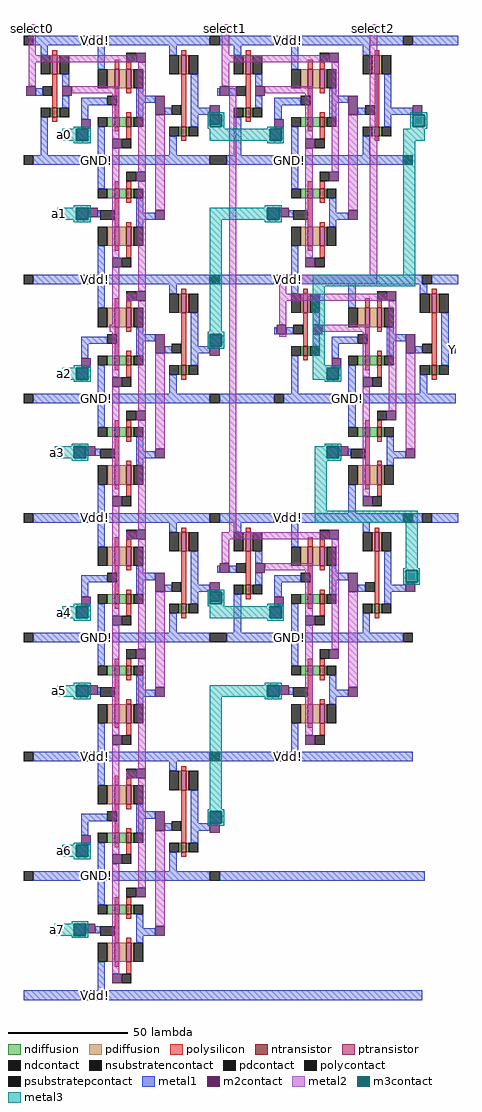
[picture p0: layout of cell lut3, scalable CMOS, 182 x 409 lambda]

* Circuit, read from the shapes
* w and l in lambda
.subckt lut3 GND! Vdd! Y a0 a1 a2 a3 a4 a5 a6 a7 select0 select1 select2
M1 n1 select0 GND! GND! nfet w=4 l=2
M2 n2 a7 GND! GND! nfet w=4 l=2
M3 n3 a6 GND! GND! nfet w=4 l=2
M4 n4 a5 GND! GND! nfet w=4 l=2
M5 n5 a4 GND! GND! nfet w=4 l=2
M6 n6 a3 GND! GND! nfet w=4 l=2
M7 n7 a2 GND! GND! nfet w=4 l=2
M8 n8 a1 GND! GND! nfet w=4 l=2
M9 n9 a0 GND! GND! nfet w=4 l=2
M10 n10 select0 n2 GND! nfet w=4 l=2
M11 n10 n1 n3 GND! nfet w=4 l=2
M12 n11 select0 n4 GND! nfet w=4 l=2
M13 n11 n1 n5 GND! nfet w=4 l=2
M14 n12 select0 n6 GND! nfet w=4 l=2
M15 n12 n1 n7 GND! nfet w=4 l=2
M16 n13 select0 n8 GND! nfet w=4 l=2
M17 n13 n1 n9 GND! nfet w=4 l=2
M18 n14 n10 GND! GND! nfet w=4 l=2
M19 n15 n11 GND! GND! nfet w=4 l=2
M20 n16 n12 GND! GND! nfet w=4 l=2
M21 n17 n13 GND! GND! nfet w=4 l=2
M22 n18 select1 GND! GND! nfet w=4 l=2
M23 n19 select1 GND! GND! nfet w=4 l=2
M24 n20 select2 GND! GND! nfet w=4 l=2
M25 n21 n14 GND! GND! nfet w=4 l=2
M26 n22 n15 GND! GND! nfet w=4 l=2
M27 n23 n16 GND! GND! nfet w=4 l=2
M28 n24 n17 GND! GND! nfet w=4 l=2
M29 n25 select1 n21 GND! nfet w=4 l=2
M30 n25 n18 n22 GND! nfet w=4 l=2
M31 n26 select1 n23 GND! nfet w=4 l=2
M32 n26 n19 n24 GND! nfet w=4 l=2
M33 n27 n28 GND! GND! nfet w=4 l=2
M34 n29 n30 GND! GND! nfet w=4 l=2
M35 n28 n25 GND! GND! nfet w=4 l=2
M36 n30 n26 GND! GND! nfet w=4 l=2
M37 n31 select2 n27 GND! nfet w=4 l=2
M38 n31 n20 n29 GND! nfet w=4 l=2
M39 Y n31 GND! GND! nfet w=4 l=2
M40 n1 select0 Vdd! Vdd! pfet w=8 l=2
M41 n32 a7 Vdd! Vdd! pfet w=8 l=2
M42 n33 a6 Vdd! Vdd! pfet w=8 l=2
M43 n34 a5 Vdd! Vdd! pfet w=8 l=2
M44 n35 a4 Vdd! Vdd! pfet w=8 l=2
M45 n36 a3 Vdd! Vdd! pfet w=8 l=2
M46 n37 a2 Vdd! Vdd! pfet w=8 l=2
M47 n38 a1 Vdd! Vdd! pfet w=8 l=2
M48 n39 a0 Vdd! Vdd! pfet w=8 l=2
M49 n10 n1 n32 Vdd! pfet w=8 l=2
M50 n10 select0 n33 Vdd! pfet w=8 l=2
M51 n11 n1 n34 Vdd! pfet w=8 l=2
M52 n11 select0 n35 Vdd! pfet w=8 l=2
M53 n12 n1 n36 Vdd! pfet w=8 l=2
M54 n12 select0 n37 Vdd! pfet w=8 l=2
M55 n13 n1 n38 Vdd! pfet w=8 l=2
M56 n13 select0 n39 Vdd! pfet w=8 l=2
M57 n14 n10 Vdd! Vdd! pfet w=8 l=2
M58 n15 n11 Vdd! Vdd! pfet w=8 l=2
M59 n16 n12 Vdd! Vdd! pfet w=8 l=2
M60 n17 n13 Vdd! Vdd! pfet w=8 l=2
M61 n18 select1 Vdd! Vdd! pfet w=8 l=2
M62 n19 select1 Vdd! Vdd! pfet w=8 l=2
M63 n20 select2 Vdd! Vdd! pfet w=8 l=2
M64 n40 n14 Vdd! Vdd! pfet w=8 l=2
M65 n41 n15 Vdd! Vdd! pfet w=8 l=2
M66 n42 n16 Vdd! Vdd! pfet w=8 l=2
M67 n43 n17 Vdd! Vdd! pfet w=8 l=2
M68 n25 n18 n40 Vdd! pfet w=8 l=2
M69 n25 select1 n41 Vdd! pfet w=8 l=2
M70 n26 n19 n42 Vdd! pfet w=8 l=2
M71 n26 select1 n43 Vdd! pfet w=8 l=2
M72 n44 n28 Vdd! Vdd! pfet w=8 l=2
M73 n45 n30 Vdd! Vdd! pfet w=8 l=2
M74 n28 n25 Vdd! Vdd! pfet w=8 l=2
M75 n30 n26 Vdd! Vdd! pfet w=8 l=2
M76 n31 n20 n44 Vdd! pfet w=8 l=2
M77 n31 select2 n45 Vdd! pfet w=8 l=2
M78 Y n31 Vdd! Vdd! pfet w=8 l=2
.ends

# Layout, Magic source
magic
tech scmos
<< ntransistor >>
rect 134 487 136 491
rect 160 483 162 487
rect 165 483 167 487
rect 215 487 217 491
rect 241 483 243 487
rect 246 483 248 487
rect 188 479 190 483
rect 269 479 271 483
rect 160 453 162 457
rect 165 453 167 457
rect 241 453 243 457
rect 246 453 248 457
rect 160 383 162 387
rect 165 383 167 387
rect 239 387 241 391
rect 265 383 267 387
rect 270 383 272 387
rect 188 379 190 383
rect 293 379 295 383
rect 160 353 162 357
rect 165 353 167 357
rect 265 353 267 357
rect 270 353 272 357
rect 160 283 162 287
rect 165 283 167 287
rect 215 287 217 291
rect 241 283 243 287
rect 246 283 248 287
rect 188 279 190 283
rect 269 279 271 283
rect 160 253 162 257
rect 165 253 167 257
rect 241 253 243 257
rect 246 253 248 257
rect 160 183 162 187
rect 165 183 167 187
rect 188 179 190 183
rect 160 153 162 157
rect 165 153 167 157
<< ptransistor >>
rect 134 505 136 513
rect 160 499 162 507
rect 165 499 167 507
rect 188 505 190 513
rect 215 505 217 513
rect 241 499 243 507
rect 246 499 248 507
rect 269 505 271 513
rect 160 433 162 441
rect 165 433 167 441
rect 241 433 243 441
rect 246 433 248 441
rect 160 399 162 407
rect 165 399 167 407
rect 188 405 190 413
rect 239 405 241 413
rect 265 399 267 407
rect 270 399 272 407
rect 293 405 295 413
rect 160 333 162 341
rect 165 333 167 341
rect 265 333 267 341
rect 270 333 272 341
rect 160 299 162 307
rect 165 299 167 307
rect 188 305 190 313
rect 215 305 217 313
rect 241 299 243 307
rect 246 299 248 307
rect 269 305 271 313
rect 160 233 162 241
rect 165 233 167 241
rect 241 233 243 241
rect 246 233 248 241
rect 160 199 162 207
rect 165 199 167 207
rect 188 205 190 213
rect 160 133 162 141
rect 165 133 167 141
<< ndiffusion >>
rect 133 487 134 491
rect 136 487 137 491
rect 157 483 160 487
rect 162 483 165 487
rect 167 483 168 487
rect 214 487 215 491
rect 217 487 218 491
rect 238 483 241 487
rect 243 483 246 487
rect 248 483 249 487
rect 187 479 188 483
rect 190 479 191 483
rect 268 479 269 483
rect 271 479 272 483
rect 157 453 160 457
rect 162 453 165 457
rect 167 453 168 457
rect 238 453 241 457
rect 243 453 246 457
rect 248 453 249 457
rect 157 383 160 387
rect 162 383 165 387
rect 167 383 168 387
rect 238 387 239 391
rect 241 387 242 391
rect 262 383 265 387
rect 267 383 270 387
rect 272 383 273 387
rect 187 379 188 383
rect 190 379 191 383
rect 292 379 293 383
rect 295 379 296 383
rect 157 353 160 357
rect 162 353 165 357
rect 167 353 168 357
rect 262 353 265 357
rect 267 353 270 357
rect 272 353 273 357
rect 157 283 160 287
rect 162 283 165 287
rect 167 283 168 287
rect 214 287 215 291
rect 217 287 218 291
rect 238 283 241 287
rect 243 283 246 287
rect 248 283 249 287
rect 187 279 188 283
rect 190 279 191 283
rect 268 279 269 283
rect 271 279 272 283
rect 157 253 160 257
rect 162 253 165 257
rect 167 253 168 257
rect 238 253 241 257
rect 243 253 246 257
rect 248 253 249 257
rect 157 183 160 187
rect 162 183 165 187
rect 167 183 168 187
rect 187 179 188 183
rect 190 179 191 183
rect 157 153 160 157
rect 162 153 165 157
rect 167 153 168 157
<< pdiffusion >>
rect 133 505 134 513
rect 136 505 137 513
rect 157 499 160 507
rect 162 499 165 507
rect 167 499 168 507
rect 187 505 188 513
rect 190 505 191 513
rect 214 505 215 513
rect 217 505 218 513
rect 238 499 241 507
rect 243 499 246 507
rect 248 499 249 507
rect 268 505 269 513
rect 271 505 272 513
rect 157 433 160 441
rect 162 433 165 441
rect 167 433 168 441
rect 238 433 241 441
rect 243 433 246 441
rect 248 433 249 441
rect 157 399 160 407
rect 162 399 165 407
rect 167 399 168 407
rect 187 405 188 413
rect 190 405 191 413
rect 238 405 239 413
rect 241 405 242 413
rect 262 399 265 407
rect 267 399 270 407
rect 272 399 273 407
rect 292 405 293 413
rect 295 405 296 413
rect 157 333 160 341
rect 162 333 165 341
rect 167 333 168 341
rect 262 333 265 341
rect 267 333 270 341
rect 272 333 273 341
rect 157 299 160 307
rect 162 299 165 307
rect 167 299 168 307
rect 187 305 188 313
rect 190 305 191 313
rect 214 305 215 313
rect 217 305 218 313
rect 238 299 241 307
rect 243 299 246 307
rect 248 299 249 307
rect 268 305 269 313
rect 271 305 272 313
rect 157 233 160 241
rect 162 233 165 241
rect 167 233 168 241
rect 238 233 241 241
rect 243 233 246 241
rect 248 233 249 241
rect 157 199 160 207
rect 162 199 165 207
rect 167 199 168 207
rect 187 205 188 213
rect 190 205 191 213
rect 157 133 160 141
rect 162 133 165 141
rect 167 133 168 141
<< ndcontact >>
rect 129 487 133 491
rect 137 487 141 491
rect 153 483 157 487
rect 168 483 172 487
rect 210 487 214 491
rect 218 487 222 491
rect 234 483 238 487
rect 249 483 253 487
rect 183 479 187 483
rect 191 479 195 483
rect 264 479 268 483
rect 272 479 276 483
rect 153 453 157 457
rect 168 453 172 457
rect 234 453 238 457
rect 249 453 253 457
rect 153 383 157 387
rect 168 383 172 387
rect 234 387 238 391
rect 242 387 246 391
rect 258 383 262 387
rect 273 383 277 387
rect 183 379 187 383
rect 191 379 195 383
rect 288 379 292 383
rect 296 379 300 383
rect 153 353 157 357
rect 168 353 172 357
rect 258 353 262 357
rect 273 353 277 357
rect 153 283 157 287
rect 168 283 172 287
rect 210 287 214 291
rect 218 287 222 291
rect 234 283 238 287
rect 249 283 253 287
rect 183 279 187 283
rect 191 279 195 283
rect 264 279 268 283
rect 272 279 276 283
rect 153 253 157 257
rect 168 253 172 257
rect 234 253 238 257
rect 249 253 253 257
rect 153 183 157 187
rect 168 183 172 187
rect 183 179 187 183
rect 191 179 195 183
rect 153 153 157 157
rect 168 153 172 157
<< pdcontact >>
rect 129 505 133 513
rect 137 505 141 513
rect 153 499 157 507
rect 168 499 172 507
rect 183 505 187 513
rect 191 505 195 513
rect 210 505 214 513
rect 218 505 222 513
rect 234 499 238 507
rect 249 499 253 507
rect 264 505 268 513
rect 272 505 276 513
rect 153 433 157 441
rect 168 433 172 441
rect 234 433 238 441
rect 249 433 253 441
rect 153 399 157 407
rect 168 399 172 407
rect 183 405 187 413
rect 191 405 195 413
rect 234 405 238 413
rect 242 405 246 413
rect 258 399 262 407
rect 273 399 277 407
rect 288 405 292 413
rect 296 405 300 413
rect 153 333 157 341
rect 168 333 172 341
rect 258 333 262 341
rect 273 333 277 341
rect 153 299 157 307
rect 168 299 172 307
rect 183 305 187 313
rect 191 305 195 313
rect 210 305 214 313
rect 218 305 222 313
rect 234 299 238 307
rect 249 299 253 307
rect 264 305 268 313
rect 272 305 276 313
rect 153 233 157 241
rect 168 233 172 241
rect 234 233 238 241
rect 249 233 253 241
rect 153 199 157 207
rect 168 199 172 207
rect 183 205 187 213
rect 191 205 195 213
rect 153 133 157 141
rect 168 133 172 141
<< psubstratepcontact >>
rect 122 467 126 471
rect 146 467 150 471
rect 200 467 207 471
rect 227 467 231 471
rect 281 467 285 471
rect 122 367 126 371
rect 146 367 150 371
rect 200 367 204 371
rect 227 367 231 371
rect 251 367 255 371
rect 122 267 126 271
rect 146 267 150 271
rect 200 267 207 271
rect 227 267 231 271
rect 281 267 285 271
rect 122 167 126 171
rect 146 167 150 171
rect 200 167 204 171
<< nsubstratencontact >>
rect 122 517 126 521
rect 146 517 150 521
rect 200 517 204 521
rect 227 517 231 521
rect 281 517 285 521
rect 122 417 126 421
rect 146 417 150 421
rect 200 417 204 421
rect 227 417 231 421
rect 289 417 293 421
rect 122 317 126 321
rect 146 317 150 321
rect 200 317 204 321
rect 227 317 231 321
rect 281 317 285 321
rect 289 317 293 321
rect 122 217 126 221
rect 146 217 150 221
rect 200 217 204 221
rect 227 217 231 221
rect 146 117 150 121
<< polysilicon >>
rect 134 513 136 515
rect 160 507 162 511
rect 188 513 190 515
rect 215 513 217 515
rect 165 507 167 510
rect 134 491 136 505
rect 241 507 243 511
rect 269 513 271 515
rect 246 507 248 510
rect 160 496 162 499
rect 165 497 167 499
rect 161 492 162 496
rect 160 487 162 492
rect 165 487 167 489
rect 134 485 136 487
rect 188 483 190 505
rect 215 491 217 505
rect 241 496 243 499
rect 246 497 248 499
rect 242 492 243 496
rect 241 487 243 492
rect 246 487 248 489
rect 215 485 217 487
rect 269 483 271 505
rect 160 481 162 483
rect 165 478 167 483
rect 241 481 243 483
rect 188 477 190 479
rect 246 478 248 483
rect 269 477 271 479
rect 160 457 162 460
rect 165 457 167 460
rect 241 457 243 460
rect 246 457 248 460
rect 160 441 162 453
rect 165 451 167 453
rect 165 441 167 443
rect 241 441 243 453
rect 246 451 248 453
rect 246 441 248 443
rect 160 431 162 433
rect 165 428 167 433
rect 241 431 243 433
rect 246 428 248 433
rect 160 407 162 411
rect 188 413 190 415
rect 239 413 241 415
rect 165 407 167 410
rect 265 407 267 411
rect 293 413 295 415
rect 270 407 272 410
rect 160 396 162 399
rect 165 397 167 399
rect 161 392 162 396
rect 160 387 162 392
rect 165 387 167 389
rect 188 383 190 405
rect 239 391 241 405
rect 265 396 267 399
rect 270 397 272 399
rect 266 392 267 396
rect 265 387 267 392
rect 270 387 272 389
rect 239 385 241 387
rect 293 383 295 405
rect 160 381 162 383
rect 165 378 167 383
rect 265 381 267 383
rect 188 377 190 379
rect 270 378 272 383
rect 293 377 295 379
rect 160 357 162 360
rect 165 357 167 360
rect 265 357 267 360
rect 270 357 272 360
rect 160 341 162 353
rect 165 351 167 353
rect 165 341 167 343
rect 265 341 267 353
rect 270 351 272 353
rect 270 341 272 343
rect 160 331 162 333
rect 165 328 167 333
rect 265 331 267 333
rect 270 328 272 333
rect 160 307 162 311
rect 188 313 190 315
rect 215 313 217 315
rect 165 307 167 310
rect 241 307 243 311
rect 269 313 271 315
rect 246 307 248 310
rect 160 296 162 299
rect 165 297 167 299
rect 161 292 162 296
rect 160 287 162 292
rect 165 287 167 289
rect 188 283 190 305
rect 215 291 217 305
rect 241 296 243 299
rect 246 297 248 299
rect 242 292 243 296
rect 241 287 243 292
rect 246 287 248 289
rect 215 285 217 287
rect 269 283 271 305
rect 160 281 162 283
rect 165 278 167 283
rect 241 281 243 283
rect 188 277 190 279
rect 246 278 248 283
rect 269 277 271 279
rect 160 257 162 260
rect 165 257 167 260
rect 241 257 243 260
rect 246 257 248 260
rect 160 241 162 253
rect 165 251 167 253
rect 165 241 167 243
rect 241 241 243 253
rect 246 251 248 253
rect 246 241 248 243
rect 160 231 162 233
rect 165 228 167 233
rect 241 231 243 233
rect 246 228 248 233
rect 160 207 162 211
rect 188 213 190 215
rect 165 207 167 210
rect 160 196 162 199
rect 165 197 167 199
rect 161 192 162 196
rect 160 187 162 192
rect 165 187 167 189
rect 188 183 190 205
rect 160 181 162 183
rect 165 178 167 183
rect 188 177 190 179
rect 160 157 162 160
rect 165 157 167 160
rect 160 141 162 153
rect 165 151 167 153
rect 165 141 167 143
rect 160 131 162 133
rect 165 128 167 133
<< polycontact >>
rect 165 510 169 514
rect 130 496 134 500
rect 246 510 250 514
rect 157 492 161 496
rect 184 488 188 492
rect 211 496 215 500
rect 238 492 242 496
rect 265 488 269 492
rect 163 474 167 478
rect 244 474 248 478
rect 165 460 169 464
rect 246 460 250 464
rect 154 444 160 448
rect 235 444 241 448
rect 163 424 167 428
rect 244 424 248 428
rect 165 410 169 414
rect 270 410 274 414
rect 157 392 161 396
rect 184 388 188 392
rect 235 396 239 400
rect 262 392 266 396
rect 289 388 293 392
rect 163 374 167 378
rect 268 374 272 378
rect 165 360 169 364
rect 270 360 274 364
rect 154 344 160 348
rect 259 344 265 348
rect 163 324 167 328
rect 268 324 272 328
rect 165 310 169 314
rect 246 310 250 314
rect 157 292 161 296
rect 184 288 188 292
rect 211 296 215 300
rect 238 292 242 296
rect 265 288 269 292
rect 163 274 167 278
rect 244 274 248 278
rect 165 260 169 264
rect 246 260 250 264
rect 154 244 160 248
rect 235 244 241 248
rect 163 224 167 228
rect 244 224 248 228
rect 165 210 169 214
rect 157 192 161 196
rect 184 188 188 192
rect 163 174 167 178
rect 165 160 169 164
rect 154 144 160 148
rect 163 124 167 128
<< metal1 >>
rect 126 517 146 521
rect 150 517 200 521
rect 204 517 227 521
rect 231 517 281 521
rect 285 517 304 521
rect 129 513 132 517
rect 138 500 141 505
rect 153 507 156 517
rect 183 513 186 517
rect 210 513 213 517
rect 127 496 130 499
rect 169 496 172 499
rect 138 491 141 496
rect 146 492 157 495
rect 169 493 177 496
rect 129 471 132 487
rect 146 486 149 492
rect 169 487 172 493
rect 181 488 184 491
rect 192 491 195 505
rect 219 500 222 505
rect 234 507 237 517
rect 264 513 267 517
rect 203 496 204 499
rect 208 496 211 499
rect 250 496 253 499
rect 192 488 200 491
rect 219 491 222 496
rect 192 483 195 488
rect 200 484 204 488
rect 227 492 238 495
rect 250 493 258 496
rect 144 477 149 482
rect 153 471 156 483
rect 183 471 186 479
rect 210 471 213 487
rect 227 486 230 492
rect 250 487 253 493
rect 262 488 265 491
rect 273 491 276 505
rect 273 488 285 491
rect 273 483 276 488
rect 225 477 230 482
rect 234 471 237 483
rect 264 471 267 479
rect 126 467 146 471
rect 150 467 200 471
rect 207 467 227 471
rect 231 467 281 471
rect 153 457 156 467
rect 234 457 237 467
rect 144 444 149 449
rect 153 445 154 448
rect 169 447 172 453
rect 169 444 177 447
rect 224 444 229 449
rect 233 445 235 448
rect 250 447 253 453
rect 250 444 258 447
rect 169 441 172 444
rect 250 441 253 444
rect 153 421 156 433
rect 234 421 237 433
rect 126 417 146 421
rect 150 417 200 421
rect 204 417 227 421
rect 231 417 289 421
rect 293 417 304 421
rect 153 407 156 417
rect 183 413 186 417
rect 234 413 237 417
rect 169 396 172 399
rect 146 392 157 395
rect 169 393 177 396
rect 146 386 149 392
rect 169 387 172 393
rect 181 388 184 391
rect 192 391 195 405
rect 243 400 246 405
rect 258 407 261 417
rect 288 413 291 417
rect 227 396 228 399
rect 232 396 235 399
rect 274 396 277 399
rect 200 391 205 396
rect 243 391 246 396
rect 192 388 200 391
rect 192 383 195 388
rect 251 392 262 395
rect 274 393 282 396
rect 144 377 149 382
rect 153 371 156 383
rect 183 371 186 379
rect 234 371 237 387
rect 251 386 254 392
rect 274 387 277 393
rect 286 388 289 391
rect 297 391 300 405
rect 297 388 303 391
rect 297 383 300 388
rect 249 377 254 382
rect 258 371 261 383
rect 288 371 291 379
rect 126 367 146 371
rect 150 367 200 371
rect 204 367 227 371
rect 231 367 251 371
rect 255 367 303 371
rect 153 357 156 367
rect 258 357 261 367
rect 143 344 148 349
rect 152 345 154 348
rect 169 347 172 353
rect 169 344 177 347
rect 249 344 254 349
rect 258 345 259 348
rect 274 347 277 353
rect 274 344 282 347
rect 169 341 172 344
rect 274 341 277 344
rect 153 321 156 333
rect 258 321 261 333
rect 126 317 146 321
rect 150 317 200 321
rect 204 317 227 321
rect 231 317 281 321
rect 285 317 289 321
rect 293 317 304 321
rect 153 307 156 317
rect 183 313 186 317
rect 210 313 213 317
rect 169 296 172 299
rect 146 292 157 295
rect 169 293 177 296
rect 146 286 149 292
rect 169 287 172 293
rect 181 288 184 291
rect 192 291 195 305
rect 219 300 222 305
rect 234 307 237 317
rect 264 313 267 317
rect 203 296 204 299
rect 208 296 211 299
rect 250 296 253 299
rect 192 288 200 291
rect 219 291 222 296
rect 192 283 195 288
rect 200 284 204 288
rect 227 292 238 295
rect 250 293 258 296
rect 144 277 149 282
rect 153 271 156 283
rect 183 271 186 279
rect 210 271 213 287
rect 227 286 230 292
rect 250 287 253 293
rect 262 288 265 291
rect 273 291 276 305
rect 273 288 282 291
rect 273 283 276 288
rect 225 277 230 282
rect 234 271 237 283
rect 264 271 267 279
rect 126 267 146 271
rect 150 267 200 271
rect 207 267 227 271
rect 231 267 281 271
rect 153 257 156 267
rect 234 257 237 267
rect 144 244 149 249
rect 153 245 154 248
rect 169 247 172 253
rect 169 244 177 247
rect 224 244 229 249
rect 233 245 235 248
rect 250 247 253 253
rect 250 244 258 247
rect 169 241 172 244
rect 250 241 253 244
rect 153 221 156 233
rect 234 221 237 233
rect 126 217 146 221
rect 150 217 200 221
rect 204 217 227 221
rect 231 217 285 221
rect 153 207 156 217
rect 183 213 186 217
rect 169 196 172 199
rect 146 192 157 195
rect 169 193 177 196
rect 146 186 149 192
rect 169 187 172 193
rect 181 188 184 191
rect 192 191 195 205
rect 200 191 205 196
rect 192 188 200 191
rect 192 183 195 188
rect 144 177 149 182
rect 153 171 156 183
rect 183 171 186 179
rect 126 167 146 171
rect 150 167 200 171
rect 204 167 290 171
rect 153 157 156 167
rect 143 144 148 149
rect 152 145 154 148
rect 169 147 172 153
rect 169 144 177 147
rect 169 141 172 144
rect 153 121 156 133
rect 122 117 146 121
rect 150 117 289 121
<< m2contact >>
rect 169 510 173 514
rect 123 496 127 500
rect 138 496 142 500
rect 177 488 181 496
rect 250 510 254 514
rect 204 496 208 500
rect 219 496 223 500
rect 200 488 204 492
rect 146 482 150 486
rect 159 474 163 478
rect 258 488 262 496
rect 285 488 289 492
rect 227 482 231 486
rect 240 474 244 478
rect 169 460 173 464
rect 250 460 254 464
rect 149 445 153 449
rect 177 444 181 448
rect 229 445 233 449
rect 258 444 262 448
rect 159 424 163 428
rect 240 424 244 428
rect 169 410 173 414
rect 177 388 181 396
rect 274 410 278 414
rect 228 396 232 400
rect 243 396 247 400
rect 146 382 150 386
rect 200 387 204 391
rect 159 374 163 378
rect 282 388 286 396
rect 251 382 255 386
rect 264 374 268 378
rect 169 360 173 364
rect 274 360 278 364
rect 148 345 152 349
rect 177 344 181 348
rect 254 345 258 349
rect 282 344 286 348
rect 159 324 163 328
rect 264 324 268 328
rect 169 310 173 314
rect 177 288 181 296
rect 250 310 254 314
rect 204 296 208 300
rect 219 296 223 300
rect 200 288 204 292
rect 146 282 150 286
rect 159 274 163 278
rect 258 288 262 296
rect 282 288 286 292
rect 227 282 231 286
rect 240 274 244 278
rect 169 260 173 264
rect 250 260 254 264
rect 149 245 153 249
rect 177 244 181 248
rect 229 245 233 249
rect 258 244 262 248
rect 159 224 163 228
rect 240 224 244 228
rect 169 210 173 214
rect 177 188 181 196
rect 146 182 150 186
rect 200 187 204 191
rect 159 174 163 178
rect 169 160 173 164
rect 148 145 152 149
rect 177 144 181 148
rect 159 124 163 128
<< metal2 >>
rect 124 513 127 526
rect 124 510 169 513
rect 124 500 127 510
rect 142 497 162 500
rect 159 478 162 497
rect 159 428 162 474
rect 170 464 173 510
rect 205 513 208 526
rect 205 510 250 513
rect 205 500 208 510
rect 159 400 162 424
rect 170 414 173 460
rect 177 448 181 488
rect 165 410 169 413
rect 158 397 162 400
rect 159 378 162 397
rect 159 328 162 374
rect 170 364 173 410
rect 159 278 162 324
rect 170 314 173 360
rect 177 348 181 388
rect 165 310 169 313
rect 208 313 211 500
rect 223 497 243 500
rect 240 478 243 497
rect 240 428 243 474
rect 251 464 254 510
rect 258 448 262 488
rect 267 421 270 526
rect 229 417 270 421
rect 229 413 232 417
rect 229 410 274 413
rect 229 400 232 410
rect 247 397 267 400
rect 229 395 232 396
rect 264 378 267 397
rect 264 328 267 374
rect 275 364 278 410
rect 282 348 286 388
rect 159 228 162 274
rect 170 264 173 310
rect 205 310 250 313
rect 205 300 208 310
rect 223 297 243 300
rect 159 178 162 224
rect 170 214 173 260
rect 177 248 181 288
rect 240 278 243 297
rect 240 228 243 274
rect 251 264 254 310
rect 258 248 262 288
rect 165 210 169 213
rect 159 128 162 174
rect 170 164 173 210
rect 177 148 181 188
<< m3contact >>
rect 144 477 149 482
rect 144 444 149 449
rect 200 483 205 488
rect 144 377 149 382
rect 143 344 148 349
rect 144 277 149 282
rect 200 391 205 396
rect 225 477 230 482
rect 224 444 229 449
rect 285 483 290 488
rect 249 377 254 382
rect 249 344 254 349
rect 144 244 149 249
rect 144 177 149 182
rect 200 283 205 288
rect 225 277 230 282
rect 224 244 229 249
rect 282 292 287 297
rect 143 144 148 149
rect 200 191 205 196
<< metal3 >>
rect 199 488 206 489
rect 199 483 200 488
rect 205 483 206 488
rect 284 488 291 489
rect 284 483 285 488
rect 290 483 291 488
rect 143 482 150 483
rect 199 482 206 483
rect 224 482 231 483
rect 284 482 291 483
rect 138 477 144 482
rect 149 477 150 482
rect 200 477 225 482
rect 230 477 231 482
rect 143 476 150 477
rect 224 476 231 477
rect 281 477 290 482
rect 143 449 150 450
rect 223 449 230 450
rect 136 444 144 449
rect 149 444 150 449
rect 143 443 150 444
rect 200 444 224 449
rect 229 444 230 449
rect 200 397 205 444
rect 223 443 230 444
rect 281 421 286 477
rect 243 416 286 421
rect 199 396 206 397
rect 199 391 200 396
rect 205 391 206 396
rect 199 390 206 391
rect 243 383 248 416
rect 143 382 150 383
rect 138 377 144 382
rect 149 377 150 382
rect 243 382 255 383
rect 243 377 249 382
rect 254 377 255 382
rect 143 376 150 377
rect 248 376 255 377
rect 142 349 149 350
rect 248 349 255 350
rect 135 344 143 349
rect 148 344 149 349
rect 142 343 149 344
rect 244 344 249 349
rect 254 344 255 349
rect 244 343 255 344
rect 244 322 249 343
rect 244 317 287 322
rect 282 298 287 317
rect 281 297 288 298
rect 281 292 282 297
rect 287 292 288 297
rect 281 291 288 292
rect 199 288 206 289
rect 199 283 200 288
rect 205 283 206 288
rect 143 282 150 283
rect 199 282 206 283
rect 224 282 231 283
rect 138 277 144 282
rect 149 277 150 282
rect 200 277 225 282
rect 230 277 231 282
rect 143 276 150 277
rect 224 276 231 277
rect 143 249 150 250
rect 223 249 230 250
rect 136 244 144 249
rect 149 244 150 249
rect 143 243 150 244
rect 200 244 224 249
rect 229 244 230 249
rect 200 197 205 244
rect 223 243 230 244
rect 199 196 206 197
rect 199 191 200 196
rect 205 191 206 196
rect 199 190 206 191
rect 143 182 150 183
rect 138 177 144 182
rect 149 177 150 182
rect 143 176 150 177
rect 142 149 149 150
rect 135 144 143 149
rect 148 144 149 149
rect 142 143 149 144
<< labels >>
rlabel metal1 150 117 154 121 1 Vdd!
rlabel metal1 150 217 154 221 1 Vdd!
rlabel metal1 151 267 154 271 1 GND!
rlabel metal1 151 167 154 171 1 GND!
rlabel metal1 232 267 235 271 1 GND!
rlabel metal1 231 317 235 321 1 Vdd!
rlabel metal1 231 217 235 221 1 Vdd!
rlabel metal1 150 317 154 321 1 Vdd!
rlabel metal1 150 517 154 521 1 Vdd!
rlabel metal1 150 417 154 421 1 Vdd!
rlabel metal1 151 467 154 471 1 GND!
rlabel metal1 151 367 154 371 1 GND!
rlabel metal3 138 477 140 482 1 a0
rlabel metal3 136 444 138 449 1 a1
rlabel metal3 138 377 140 382 1 a2
rlabel metal3 135 344 137 349 1 a3
rlabel metal1 232 467 235 471 1 GND!
rlabel metal1 231 517 235 521 1 Vdd!
rlabel metal1 231 417 235 421 1 Vdd!
rlabel metal1 256 367 259 371 1 GND!
rlabel metal1 300 388 303 391 7 Y
rlabel metal3 138 277 140 282 1 a4
rlabel metal3 136 244 138 249 1 a5
rlabel metal3 138 177 140 182 1 a6
rlabel metal3 135 144 137 149 1 a7
rlabel metal2 124 522 127 526 4 select0
rlabel metal2 205 522 208 526 5 select1
rlabel metal2 267 522 270 526 5 select2
<< end >>
